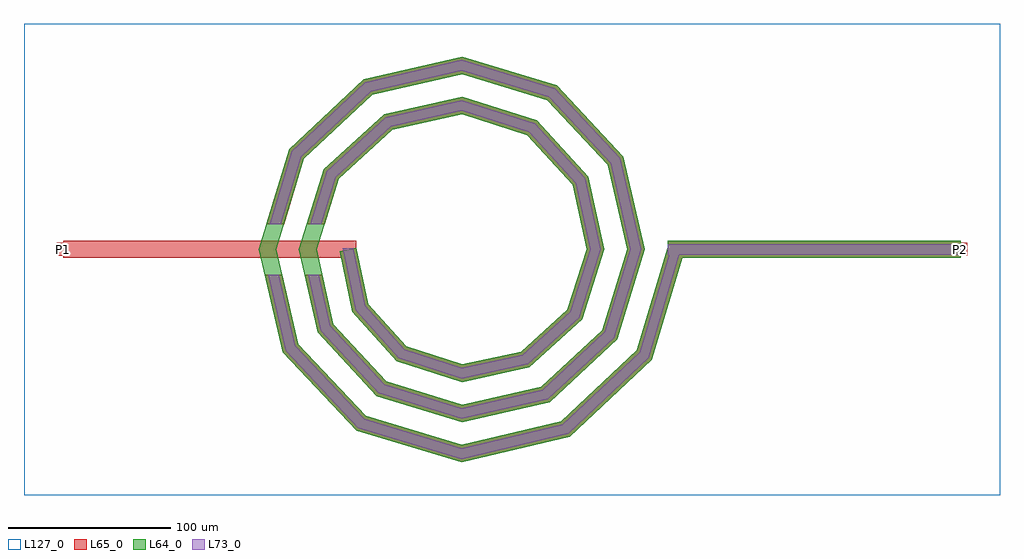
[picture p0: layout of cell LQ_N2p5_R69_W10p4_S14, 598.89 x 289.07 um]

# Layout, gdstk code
import gdstk
lib = gdstk.Library(unit=1e-6, precision=1e-09)
def R(c, l, rs):  # rectangles x0, y0, x1, y1
    for r in rs: c.add(gdstk.rectangle(r[:2], r[2:], *l))
def P(c, l, *ps):  # polygons
    for p in ps: c.add(gdstk.Polygon(p, *l))
L64_0 = (64, 0)
L65_0 = (65, 0)
L73_0 = (73, 0)
L127_0 = (127, 0)

lq_n2p5_r69_w10p4_s14 = lib.new_cell('LQ_N2p5_R69_W10p4_S14')
R(lq_n2p5_r69_w10p4_s14, L64_0, [(126.293,-5.2,306.293,5.2)])
P(lq_n2p5_r69_w10p4_s14, L64_0, [(-57.423,-33.485),(-34.022,-59.487),(0.272,-70.585),(36.55,-62.777),(64.819,-37.126),(76.754,0.251),(68.129,39.618),(40.226,70.153),(0.234,82.924),(-42.688,73.481),(-75.488,43.325),(-89.093,0.219),(-78.831,-45.76),(-46.422,-80.824),(0.205,-95.263),(48.834,-84.18),(86.161,-49.517),(101.432,0.193),(89.529,51.909),(52.612,91.498),(0.183,107.602),(-54.985,94.878),(-96.837,55.705),(-113.772,0.173),(-100.225,-58.062),(-58.797,-102.175),(0.165,-119.942),(61.14,-105.573),(107.515,-61.889),(126.512,1.493),(136.474,-1.493),(116.676,-67.547),(66.24,-115.056),(0.165,-130.704),(-64.469,-111.328),(-109.716,-63.148),(-124.534,0.173),(-105.98,61.391),(-60.055,104.377),(0.183,118.364),(58.315,100.632),(99.038,56.961),(112.193,0.193),(95.282,-55.239),(53.866,-93.7),(0.205,-106.023),(-52.164,-89.933),(-88.363,-50.769),(-99.852,0.219),(-84.582,49.091),(-47.671,83.026),(0.234,93.682),(46.02,79.23),(77.691,44.572),(87.511,0.251),(73.877,-42.95),(41.469,-72.356),(0.272,-81.34),(-39.883,-68.522),(-67.023,-38.364),(-74.881,-1.072),(-64.704,1.072)])
R(lq_n2p5_r69_w10p4_s14, L65_0, [(-244.593,-5.2,-64.593,5.2), (126.293,-5.2,306.293,5.2), (-248.593,-4,-240.593,4), (302.293,-4,310.293,4)])
P(lq_n2p5_r69_w10p4_s14, L65_0, [(-100.225,-58.062),(-58.798,-102.175),(0.165,-119.942),(61.14,-105.573),(107.515,-61.889),(126.512,1.493),(136.474,-1.493),(116.676,-67.547),(66.24,-115.056),(0.165,-130.704),(-64.469,-111.328),(-109.716,-63.148),(-120.843,-15.6),(-110.162,-15.6)],
  [(-78.831,-45.76),(-46.422,-80.824),(0.205,-95.263),(48.834,-84.18),(86.161,-49.517),(101.432,0.193),(89.529,51.909),(52.612,91.498),(0.183,107.602),(-54.985,94.878),(-96.837,55.705),(-108.991,15.6),(-119.859,15.6),(-105.98,61.391),(-60.055,104.377),(0.183,118.364),(58.315,100.632),(99.038,56.961),(112.193,0.193),(95.283,-55.239),(53.866,-93.7),(0.205,-106.023),(-52.164,-89.933),(-88.363,-50.769),(-96.288,-15.6),(-85.627,-15.6)],
  [(-34.023,-59.487),(0.272,-70.585),(36.55,-62.777),(64.819,-37.126),(76.754,0.251),(68.129,39.618),(40.226,70.153),(0.234,82.924),(-42.688,73.481),(-75.488,43.325),(-84.151,15.6),(-95.046,15.6),(-84.582,49.091),(-47.671,83.026),(0.234,93.682),(46.02,79.23),(77.691,44.572),(87.511,0.251),(73.877,-42.95),(41.469,-72.356),(0.272,-81.34),(-39.883,-68.522),(-67.023,-38.364),(-74.881,-1.072),(-64.704,1.072),(-57.423,-33.485)])
R(lq_n2p5_r69_w10p4_s14, L73_0, [(126.293,-3.2,306.293,3.2)])
P(lq_n2p5_r69_w10p4_s14, L73_0, [(-102.05,-59.04),(-59.888,-103.936),(0.101,-122.012),(62.121,-107.396),(109.276,-62.977),(128.428,0.919),(134.558,0.919),(114.914,-66.459),(65.259,-113.232),(0.101,-128.635),(-63.378,-109.568),(-107.891,-62.17),(-118.789,-15.6),(-112.216,-15.6)],
  [(-80.664,-46.723),(-47.526,-82.575),(0.126,-97.332),(49.802,-86.011),(87.915,-50.618),(103.502,0.119),(91.358,52.88),(53.708,93.255),(0.113,109.672),(-55.96,96.704),(-98.595,56.799),(-111.081,15.6),(-117.769,15.6),(-104.222,60.298),(-59.08,102.55),(0.113,116.294),(57.218,98.875),(97.21,55.989),(110.124,0.119),(93.528,-54.139),(52.898,-91.87),(0.126,-103.954),(-51.06,-88.181),(-86.53,-49.806),(-94.238,-15.6),(-87.677,-15.6)],
  [(-35.15,-61.225),(0.167,-72.653),(37.496,-64.619),(66.561,-38.246),(78.823,0.155),(69.968,40.57),(41.34,71.898),(0.144,84.993),(-43.646,75.316),(-77.237,44.434),(-86.246,15.6),(-92.951,15.6),(-82.833,47.982),(-46.713,81.191),(0.144,91.613),(44.906,77.484),(75.852,43.619),(85.442,0.155),(72.135,-41.83),(40.523,-70.514),(0.167,-79.272),(-38.756,-66.784),(-65.177,-37.426),(-72.924,0.66),(-66.661,0.66),(-59.269,-34.423)])
R(lq_n2p5_r69_w10p4_s14, L127_0, [(-268.593,-150.704,330.293,138.364)])
lq_n2p5_r69_w10p4_s14.add(gdstk.Label('P2', (306.293,0), layer=65, texttype=0))
lq_n2p5_r69_w10p4_s14.add(gdstk.Label('P1', (-244.593,0), layer=65, texttype=0))
lq_n2p5_r69_w10p4_s14.add(gdstk.Label('P2', (310.293,0), layer=145, texttype=0))
lq_n2p5_r69_w10p4_s14.add(gdstk.Label('P1', (-248.593,0), layer=145, texttype=0))

lib.write_gds('LQ_N2p5_R69_W10p4_S14.gds')
